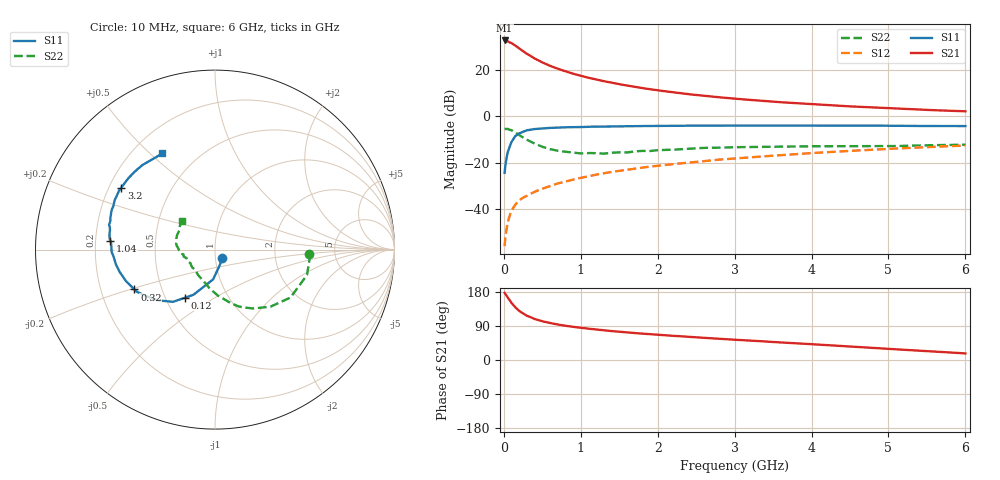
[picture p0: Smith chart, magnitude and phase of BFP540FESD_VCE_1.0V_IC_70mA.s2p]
! Infineon Technologies  Discrete & RF Semiconductors
! BFP540FESD
! VCE =  1.0 V,  IC =  70 mA
! Common Emitter S-Parameters:  Nov 2015
# GHz  S  MA  R  50
!  f  S11  S21  S12  S22
! GHz  MAG  ANG  MAG  ANG  MAG  ANG  MAG  ANG
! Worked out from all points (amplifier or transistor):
!   210 points, 10 MHz to 6 GHz, reference 50 ohm
!   highest |S21| = 32.5 dB at 10 MHz (marker M1)
!   |S21| within 3 dB of that: start of sweep to 182.1 MHz
!   unconditionally stable (mu >= 1): start of sweep to 113.8 MHz; 478.1 MHz to end of sweep
!   at 185 MHz: K = 0.88, MSG = 33.1 dB, |S12| = -36.8 dB
!   at 1.52 GHz: K = 1.18, MAG = 15.9 dB, |S12| = -23.4 dB
!   at 6 GHz: K = 1.27, MAG = 4.2 dB, |S12| = -12.6 dB
!   S11 on the Smith chart (normalised r, x): 10 MHz: 1.08, -0.10; 120 MHz: 0.63, -0.37; 320 MHz: 0.35, -0.21; 1.04 GHz: 0.26, +0.04; 3.2 GHz: 0.25, +0.28; 6 GHz: 0.32, +0.55
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0.01  0.0606 -50.1  42.27 177.3  0.0016 110.7  0.5257 -2.8
0.02  0.0873 -71.1  40.61 174.4  0.0025 88.0  0.5308 -3.9
0.05  0.1663 -93.6  40.59 165.0  0.005 80.5  0.5318 -15.4
0.1  0.2788 -115.5  37.02 150.3  0.0093 74.0  0.4983 -32.4
0.12  0.3146 -121.8  35.15 146.0  0.0106 71.9  0.4734 -37.4
0.15  0.3735 -128.8  32.78 138.6  0.0125 69.6  0.4436 -45.8
0.2  0.4259 -138.4  28.46 129.4  0.0154 66.3  0.3903 -57.2
0.26  0.4693 -147.3  24.2 121.3  0.018 65.1  0.3404 -67.9
0.32  0.5008 -153.7  20.9 115.2  0.0202 64.9  0.2985 -75.8
0.4  0.5268 -160.7  17.33 108.1  0.0237 64.9  0.2567 -86.4
0.5  0.5454 -166.8  14.26 102.0  0.0274 65.4  0.2193 -97.6
0.58  0.5547 -170.3  12.48 98.5  0.0305 66.1  0.1995 -104.2
0.8  0.5756 -178.6  9.158 90.3  0.0393 66.4  0.1715 -122.6
1.02  0.5826 175.6  7.204 84.5  0.0478 65.6  0.1583 -136.1
1.04  0.5845 175.2  7.07 84.0  0.0486 65.6  0.1588 -137.3
1.5  0.6062 166.8  4.844 74.6  0.0665 64.2  0.166 -158.6
2.02  0.6168 158.7  3.543 66.3  0.0861 61.1  0.1855 -173.0
3.1  0.6266 147.5  2.298 52.4  0.1262 54.5  0.2156 173.6
3.2  0.6261 146.5  2.231 51.3  0.1298 53.7  0.2167 172.7
4.1  0.6244 139.0  1.766 40.5  0.1639 47.2  0.2246 163.2
5.1  0.6186 129.5  1.457 28.2  0.201 38.2  0.2273 150.8
6  0.6108 118.7  1.268 17.4  0.2339 29.7  0.2428 138.6
